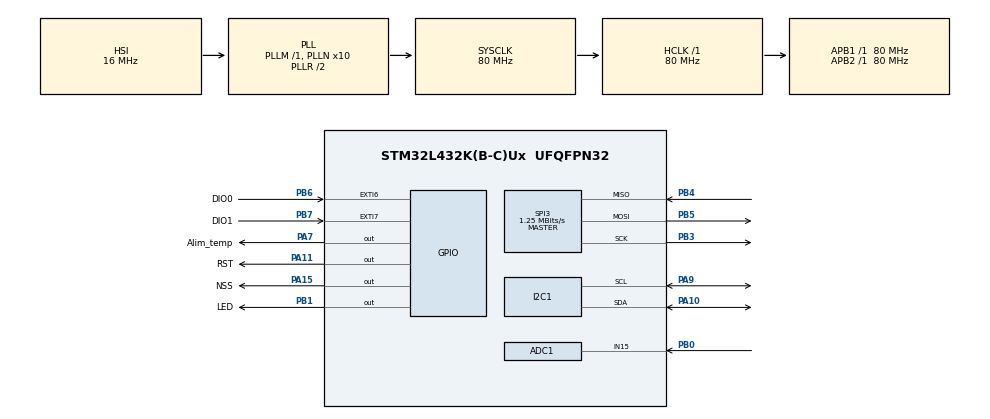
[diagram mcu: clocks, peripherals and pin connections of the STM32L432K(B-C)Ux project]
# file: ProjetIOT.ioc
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ADC1.Channel-0\#ChannelRegularConversion=ADC_CHANNEL_15
ADC1.NbrOfConversion=1
ADC1.NbrOfConversionFlag=1
ADC1.OffsetNumber-0\#ChannelRegularConversion=ADC_OFFSET_NONE
ADC1.Rank-0\#ChannelRegularConversion=1
ADC1.SamplingTime-0\#ChannelRegularConversion=ADC_SAMPLETIME_640CYCLES_5
ADC1.master=1
I2C1.Timing=0x10D19CE4
Mcu.Family=STM32L4
Mcu.Name=STM32L432K(B-C)Ux
Mcu.Package=UFQFPN32
NVIC.ADC1_IRQn=true\:0\:0\:false\:false\:true\:true\:true\:true
NVIC.EXTI9_5_IRQn=true\:0\:0\:false\:false\:true\:true\:true\:true
NVIC.PriorityGroup=NVIC_PRIORITYGROUP_4
NVIC.SPI3_IRQn=true\:0\:0\:false\:false\:true\:true\:true\:true
NVIC.TIM6_DAC_IRQn=true\:0\:0\:false\:false\:true\:true\:true\:true
NVIC.TIM7_IRQn=true\:0\:0\:false\:false\:true\:true\:true\:true
PA10.GPIO_Pu=GPIO_PULLUP
PA10.Mode=I2C
PA10.Signal=I2C1_SDA
PA11.GPIO_Label=RST
PA11.Signal=GPIO_Output
PA13\ (JTMS-SWDIO).Mode=Serial_Wire
PA13\ (JTMS-SWDIO).Signal=SYS_JTMS-SWDIO
PA14\ (JTCK-SWCLK).Mode=Serial_Wire
PA14\ (JTCK-SWCLK).Signal=SYS_JTCK-SWCLK
PA15\ (JTDI).GPIO_Label=NSS
PA15\ (JTDI).Signal=GPIO_Output
PA7.GPIO_Label=Alim_temp
PA7.Signal=GPIO_Output
PA9.GPIO_Pu=GPIO_PULLUP
PA9.Mode=I2C
PA9.Signal=I2C1_SCL
PB0.Signal=ADCx_IN15
PB1.GPIO_Label=LED
PB1.Signal=GPIO_Output
PB3\ (JTDO-TRACESWO).Mode=Full_Duplex_Master
PB3\ (JTDO-TRACESWO).Signal=SPI3_SCK
PB4\ (NJTRST).Mode=Full_Duplex_Master
PB4\ (NJTRST).Signal=SPI3_MISO
PB5.Mode=Full_Duplex_Master
PB5.Signal=SPI3_MOSI
PB6.GPIO_Label=DIO0
PB6.Signal=GPXTI6
PB7.GPIO_Label=DIO1
PB7.Signal=GPXTI7
PC14-OSC32_IN\ (PC14).Mode=LSE-External-Oscillator
PC14-OSC32_IN\ (PC14).Signal=RCC_OSC32_IN
PC15-OSC32_OUT\ (PC15).Mode=LSE-External-Oscillator
PC15-OSC32_OUT\ (PC15).Signal=RCC_OSC32_OUT
ProjectManager.HeapSize=0x200
ProjectManager.StackSize=0x400
ProjectManager.TargetToolchain=STM32CubeIDE
RCC.ADCFreq_Value=64000000
RCC.AHBFreq_Value=80000000
RCC.APB1Freq_Value=80000000
RCC.APB1TimFreq_Value=80000000
RCC.APB2Freq_Value=80000000
RCC.APB2TimFreq_Value=80000000
RCC.CortexFreq_Value=80000000
RCC.HCLKFreq_Value=80000000
RCC.HSE_VALUE=8000000
RCC.HSI48_VALUE=48000000
RCC.HSI_VALUE=16000000
RCC.MSI_VALUE=4000000
RCC.PLLN=10
RCC.PLLSourceVirtual=RCC_PLLSOURCE_HSI
RCC.SYSCLKFreq_VALUE=80000000
RCC.SYSCLKSource=RCC_SYSCLKSOURCE_PLLCLK
RCC.USBFreq_Value=64000000
RCC.VCOOutputFreq_Value=160000000
SH.ADCx_IN15.0=ADC1_IN15,IN15-Single-Ended
SPI3.BaudRatePrescaler=SPI_BAUDRATEPRESCALER_64
SPI3.CalculateBaudRate=1.25 MBits/s
SPI3.DataSize=SPI_DATASIZE_8BIT
SPI3.Direction=SPI_DIRECTION_2LINES
SPI3.Mode=SPI_MODE_MASTER
SPI3.VirtualType=VM_MASTER
TIM6.Period=65536-1
TIM6.Prescaler=1221-1
TIM7.Prescaler=2500-1
VP_TIM6_VS_ClockSourceINT.Mode=Enable_Timer
VP_TIM7_VS_ClockSourceINT.Mode=Enable_Timer
board=custom

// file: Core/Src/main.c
/* USER CODE BEGIN Header */
/**
  ******************************************************************************
  * @file           : main.c
  * @brief          : Main program body
  ******************************************************************************
  * @attention
  *
  * Copyright (c) 2024 STMicroelectronics.
  * All rights reserved.
  *
  * This software is licensed under terms that can be found in the LICENSE file
  * in the root directory of this software component.
  * If no LICENSE file comes with this software, it is provided AS-IS.
  *
  ******************************************************************************
  */
/* USER CODE END Header */
#include "main.h"
#include "adc.h"
#include "i2c.h"
#include "spi.h"
#include "tim.h"
#include "gpio.h"

/* USER CODE BEGIN Includes */
#include "oslmic.h"
#include "lmic.h"
#include "cayenne_lpp.h"
// librairie BME680
#include <bme680/bme68x_necessary_functions.h>

/* USER CODE END Includes */

/* USER CODE BEGIN PV */
/* Private variables ---------------------------------------------------------*/
// application router ID (LSBF) < ------- IMPORTANT
static const u1_t APPEUI[8] = {0x67, 0x09, 0x00, 0x00, 0x00, 0x5A, 0x55, 0xAA};
// unique device ID (LSBF) < ------- IMPORTANT
static const u1_t DEVEUI[8] = {0xC2, 0xBB, 0x04, 0xD0, 0x7E, 0xD5, 0xB3, 0x70};
// device-specific AES key (derived from device EUI (MSBF))
static const u1_t DEVKEY[16] = {0xB3, 0x4C, 0xBD, 0xE6, 0x25, 0xE6, 0xE2, 0x74, 0xDF, 0x6C, 0x89, 0x84, 0xF1, 0x54, 0x85, 0x1B};

volatile int raw_adc1_in15 = 0;
volatile float temp = 0;

cayenne_lpp_t cayenne_packet;

// BME680 data
struct bme68x_data data;
volatile int err_code = 0;

//APPEUI,DEVEUI must be copied from thethingsnetwork application datas in LSB format
//-----------------------------------------------------------------------------------------
/* USER CODE END PV */

void SystemClock_Config(void);

/* USER CODE BEGIN 0 */
// provide application router ID (8 bytes, LSBF)
void os_getArtEui (u1_t* buf) {
	memcpy(buf, APPEUI, 8);
}
// provide device ID (8 bytes, LSBF)
void os_getDevEui (u1_t* buf) {
	memcpy(buf, DEVEUI, 8);
}
// provide device key (16 bytes)
void os_getDevKey (u1_t* buf) {
	memcpy(buf, DEVKEY, 16);
}
void initsensor(){
	HAL_GPIO_WritePin(Alim_temp_GPIO_Port, Alim_temp_Pin, GPIO_PIN_SET); //alimente le capteur de temperature
	HAL_ADCEx_Calibration_Start(&hadc1, ADC_SINGLE_ENDED);
}

void initfunc (osjob_t* j) {
	// intialize sensor hardware
	initsensor();
	// reset MAC state
	LMIC_reset();
	// start joining
	LMIC_startJoining();
	// init done - onEvent() callback will be invoked...
}
int readsensor_temp(){
	return  (188686 - 147 * raw_adc1_in15);
}

static osjob_t reportjob;
// report sensor value every minute
static void reportfunc (osjob_t* j) {
	// BME680

	if (bme68x_single_measure(&data) == 0) {

		// Measurement is successful, so continue with IAQ
		data.iaq_score = bme68x_iaq(); // Calculate IAQ

		HAL_Delay(2000);
	}

	cayenne_lpp_reset(&cayenne_packet);

	cayenne_lpp_add_temperature(&cayenne_packet, 0, data.temperature);
	cayenne_lpp_add_relative_humidity(&cayenne_packet, 1, data.humidity);
	cayenne_lpp_add_barometric_pressure(&cayenne_packet, 2, data.pressure/100);
	cayenne_lpp_add_analog_output(&cayenne_packet, 3, data.iaq_score);
	cayenne_lpp_add_analog_output(&cayenne_packet, 4, (float)(data.gas_index));
	cayenne_lpp_add_analog_output(&cayenne_packet, 5, data.gas_resistance);

	LMIC_setTxData2(1, cayenne_packet.buffer, sizeof(cayenne_packet.buffer), 0);

	// reschedule job in 60 seconds
	os_setTimedCallback(j, os_getTime()+sec2osticks(15), reportfunc);
}

//////////////////////////////////////////////////
// LMIC EVENT CALLBACK
//////////////////////////////////////////////////
void onEvent (ev_t ev) {
	switch(ev) {
	// network joined, session established
		case EV_JOINING:
			break;

		case EV_JOINED:
			reportfunc(&reportjob);
			break;
		case EV_JOIN_FAILED:
			break;
		case EV_SCAN_TIMEOUT:
			break;
		case EV_BEACON_FOUND:
			break;
		case EV_BEACON_MISSED:
			break;
		case EV_BEACON_TRACKED:
			break;
		case EV_RFU1:
			break;
		case EV_REJOIN_FAILED:
			break;
		case EV_TXCOMPLETE:
			break;
		case EV_LOST_TSYNC:
			break;
		case EV_RESET:
			break;
		case EV_RXCOMPLETE:
			break;
		case EV_LINK_DEAD:
			break;
		case EV_LINK_ALIVE:
			break;
		default:
			break;
	}
}
/* USER CODE END 0 */

int main(void)
{

  /* MCU Configuration--------------------------------------------------------*/

  /* Reset of all peripherals, Initializes the Flash interface and the Systick. */
  HAL_Init();

  /* Configure the system clock */
  SystemClock_Config();

  /* Initialize all configured peripherals */
  MX_GPIO_Init();
  MX_SPI3_Init();
  MX_TIM7_Init();
  MX_TIM6_Init();
  MX_ADC1_Init();
  MX_I2C1_Init();
  /* USER CODE BEGIN 2 */

  /* BME680 API forced mode test */
  bme68x_start(&data, &hi2c1);

  HAL_TIM_Base_Start_IT(&htim6); //demarrage du timer 6 en interruption toutes les secondes pour la mesure temperature
  HAL_TIM_Base_Start_IT(&htim7);   // <----------- change to your setup
  __HAL_SPI_ENABLE(&hspi3);        // <----------- change to your setup

  osjob_t initjob;
  // initialize runtime env
  os_init();
  // setup initial job
  os_setCallback(&initjob, initfunc);

//  // test BME
//  if (bme68x_single_measure(&data) == 0) {
//
//	// Measurement is successful, so continue with IAQ
//	data.iaq_score = bme68x_iaq(); // Calculate IAQ
//
//	HAL_Delay(2000);
//  }

  // execute scheduled jobs and events
  os_runloop();
  // (not reached)
  return 0;
  /* USER CODE END 2 */

  /* Infinite loop */
  while (1)
  {

  }
}

void SystemClock_Config(void)
{
  RCC_OscInitTypeDef RCC_OscInitStruct = {0};
  RCC_ClkInitTypeDef RCC_ClkInitStruct = {0};

  /** Configure the main internal regulator output voltage
  */
  if (HAL_PWREx_ControlVoltageScaling(PWR_REGULATOR_VOLTAGE_SCALE1) != HAL_OK)
  {
    Error_Handler();
  }

  /** Initializes the RCC Oscillators according to the specified parameters
  * in the RCC_OscInitTypeDef structure.
  */
  RCC_OscInitStruct.OscillatorType = RCC_OSCILLATORTYPE_HSI;
  RCC_OscInitStruct.HSIState = RCC_HSI_ON;
  RCC_OscInitStruct.HSICalibrationValue = RCC_HSICALIBRATION_DEFAULT;
  RCC_OscInitStruct.PLL.PLLState = RCC_PLL_ON;
  RCC_OscInitStruct.PLL.PLLSource = RCC_PLLSOURCE_HSI;
  RCC_OscInitStruct.PLL.PLLM = 1;
  RCC_OscInitStruct.PLL.PLLN = 10;
  RCC_OscInitStruct.PLL.PLLP = RCC_PLLP_DIV7;
  RCC_OscInitStruct.PLL.PLLQ = RCC_PLLQ_DIV2;
  RCC_OscInitStruct.PLL.PLLR = RCC_PLLR_DIV2;
  if (HAL_RCC_OscConfig(&RCC_OscInitStruct) != HAL_OK)
  {
    Error_Handler();
  }

  /** Initializes the CPU, AHB and APB buses clocks
  */
  RCC_ClkInitStruct.ClockType = RCC_CLOCKTYPE_HCLK|RCC_CLOCKTYPE_SYSCLK
                              |RCC_CLOCKTYPE_PCLK1|RCC_CLOCKTYPE_PCLK2;
  RCC_ClkInitStruct.SYSCLKSource = RCC_SYSCLKSOURCE_PLLCLK;
  RCC_ClkInitStruct.AHBCLKDivider = RCC_SYSCLK_DIV1;
  RCC_ClkInitStruct.APB1CLKDivider = RCC_HCLK_DIV1;
  RCC_ClkInitStruct.APB2CLKDivider = RCC_HCLK_DIV1;

  if (HAL_RCC_ClockConfig(&RCC_ClkInitStruct, FLASH_LATENCY_4) != HAL_OK)
  {
    Error_Handler();
  }
}

/* USER CODE BEGIN 4 */
//void HAL_TIM_PeriodElapsedCallback(TIM_HandleTypeDef *htim)
//{
//	if(htim == &htim6) HAL_ADC_Start_IT(&hadc1);
//
//	if(htim->Instance == htim7.Instance){
//		HAL.ticks++;
//	}
//}

void HAL_ADC_ConvCpltCallback(ADC_HandleTypeDef *hadc)
{
	raw_adc1_in15 = HAL_ADC_GetValue(&hadc1);
}
/* USER CODE END 4 */

void Error_Handler(void)
{
  __disable_irq();
  while (1)
  {
  }
}
